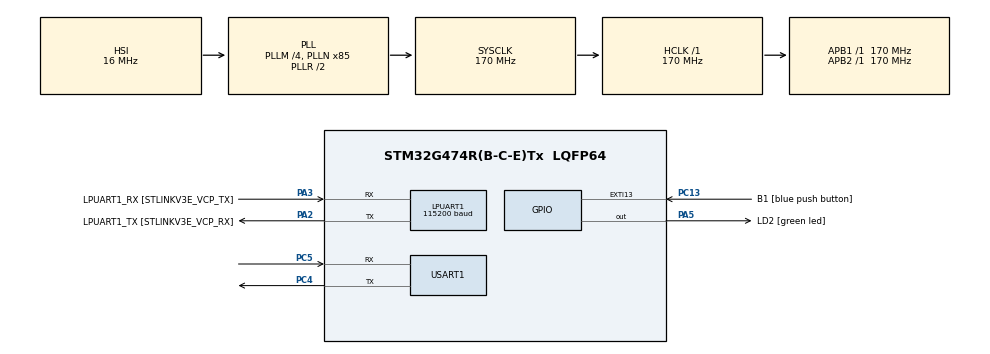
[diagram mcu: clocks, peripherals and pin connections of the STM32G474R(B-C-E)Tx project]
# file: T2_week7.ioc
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Dma.LPUART1_RX.1.Direction=DMA_PERIPH_TO_MEMORY
Dma.LPUART1_RX.1.EventEnable=DISABLE
Dma.LPUART1_RX.1.Instance=DMA1_Channel2
Dma.LPUART1_RX.1.MemDataAlignment=DMA_MDATAALIGN_BYTE
Dma.LPUART1_RX.1.MemInc=DMA_MINC_ENABLE
Dma.LPUART1_RX.1.Mode=DMA_CIRCULAR
Dma.LPUART1_RX.1.PeriphDataAlignment=DMA_PDATAALIGN_BYTE
Dma.LPUART1_RX.1.PeriphInc=DMA_PINC_DISABLE
Dma.LPUART1_RX.1.Polarity=HAL_DMAMUX_REQ_GEN_RISING
Dma.LPUART1_RX.1.Priority=DMA_PRIORITY_LOW
Dma.LPUART1_RX.1.RequestNumber=1
Dma.LPUART1_RX.1.SignalID=NONE
Dma.LPUART1_RX.1.SyncEnable=DISABLE
Dma.LPUART1_RX.1.SyncPolarity=HAL_DMAMUX_SYNC_NO_EVENT
Dma.LPUART1_RX.1.SyncRequestNumber=1
Dma.LPUART1_RX.1.SyncSignalID=NONE
Dma.LPUART1_TX.0.Direction=DMA_MEMORY_TO_PERIPH
Dma.LPUART1_TX.0.EventEnable=DISABLE
Dma.LPUART1_TX.0.Instance=DMA1_Channel1
Dma.LPUART1_TX.0.MemDataAlignment=DMA_MDATAALIGN_BYTE
Dma.LPUART1_TX.0.MemInc=DMA_MINC_ENABLE
Dma.LPUART1_TX.0.Mode=DMA_NORMAL
Dma.LPUART1_TX.0.PeriphDataAlignment=DMA_PDATAALIGN_BYTE
Dma.LPUART1_TX.0.PeriphInc=DMA_PINC_DISABLE
Dma.LPUART1_TX.0.Polarity=HAL_DMAMUX_REQ_GEN_RISING
Dma.LPUART1_TX.0.Priority=DMA_PRIORITY_LOW
Dma.LPUART1_TX.0.RequestNumber=1
Dma.LPUART1_TX.0.SignalID=NONE
Dma.LPUART1_TX.0.SyncEnable=DISABLE
Dma.LPUART1_TX.0.SyncPolarity=HAL_DMAMUX_SYNC_NO_EVENT
Dma.LPUART1_TX.0.SyncRequestNumber=1
Dma.LPUART1_TX.0.SyncSignalID=NONE
Dma.Request0=LPUART1_TX
Dma.Request1=LPUART1_RX
LPUART1.BaudRate=115200
LPUART1.WordLength=UART_WORDLENGTH_8B
Mcu.Family=STM32G4
Mcu.Name=STM32G474R(B-C-E)Tx
Mcu.Package=LQFP64
NVIC.DMA1_Channel1_IRQn=true\:0\:0\:false\:false\:true\:false\:true\:true
NVIC.DMA1_Channel2_IRQn=true\:0\:0\:false\:false\:true\:false\:true\:true
NVIC.EXTI15_10_IRQn=true\:0\:0\:false\:false\:true\:true\:true\:true
NVIC.LPUART1_IRQn=true\:0\:0\:false\:false\:true\:true\:true\:true
NVIC.PriorityGroup=NVIC_PRIORITYGROUP_4
PA13.GPIO_Label=T_SWDIO
PA13.Mode=Serial_Wire
PA13.Signal=SYS_JTMS-SWDIO
PA14.GPIO_Label=T_SWCLK
PA14.Mode=Serial_Wire
PA14.Signal=SYS_JTCK-SWCLK
PA2.GPIO_Label=LPUART1_TX [STLINKV3E_VCP_RX]
PA2.Mode=Asynchronous
PA2.Signal=LPUART1_TX
PA3.GPIO_Label=LPUART1_RX [STLINKV3E_VCP_TX]
PA3.Mode=Asynchronous
PA3.Signal=LPUART1_RX
PA5.GPIO_Label=LD2 [green led]
PA5.Signal=GPIO_Output
PB3.GPIO_Label=T_SWO
PB3.Signal=SYS_JTDO-SWO
PC13.GPIO_Label=B1 [blue push button]
PC13.Signal=GPXTI13
PC14-OSC32_IN.Mode=LSE-External-Oscillator
PC14-OSC32_IN.Signal=RCC_OSC32_IN
PC15-OSC32_OUT.Mode=LSE-External-Oscillator
PC15-OSC32_OUT.Signal=RCC_OSC32_OUT
PC4.Mode=Asynchronous
PC4.Signal=USART1_TX
PC5.Mode=Asynchronous
PC5.Signal=USART1_RX
PF0-OSC_IN.Mode=HSE-External-Oscillator
PF0-OSC_IN.Signal=RCC_OSC_IN
PF1-OSC_OUT.Mode=HSE-External-Oscillator
PF1-OSC_OUT.Signal=RCC_OSC_OUT
ProjectManager.HeapSize=0x200
ProjectManager.StackSize=0x400
ProjectManager.TargetToolchain=STM32CubeIDE
RCC.ADC12Freq_Value=170000000
RCC.ADC345Freq_Value=170000000
RCC.AHBFreq_Value=170000000
RCC.APB1Freq_Value=170000000
RCC.APB1TimFreq_Value=170000000
RCC.APB2Freq_Value=170000000
RCC.APB2TimFreq_Value=170000000
RCC.CortexFreq_Value=170000000
RCC.EXTERNAL_CLOCK_VALUE=12288000
RCC.HCLKFreq_Value=170000000
RCC.HSE_VALUE=24000000
RCC.HSI48_VALUE=48000000
RCC.HSI_VALUE=16000000
RCC.PLLM=RCC_PLLM_DIV4
RCC.PLLN=85
RCC.RTCClockSelection=RCC_RTCCLKSOURCE_LSE
RCC.SYSCLKFreq_VALUE=170000000
RCC.SYSCLKSource=RCC_SYSCLKSOURCE_PLLCLK
RCC.USBFreq_Value=170000000
RCC.VCOOutputFreq_Value=340000000
USART1.VirtualMode-Asynchronous=VM_ASYNC
VP_SYS_VS_DBSignals.Mode=DisableDeadBatterySignals
board=NUCLEO-G474RE

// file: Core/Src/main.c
/* USER CODE BEGIN Header */
/**
  ******************************************************************************
  * @file           : main.c
  * @brief          : Main program body
  ******************************************************************************
  * @attention
  *
  * Copyright (c) 2024 STMicroelectronics.
  * All rights reserved.
  *
  * This software is licensed under terms that can be found in the LICENSE file
  * in the root directory of this software component.
  * If no LICENSE file comes with this software, it is provided AS-IS.
  *
  ******************************************************************************
  */
/* USER CODE END Header */
#include "main.h"

/* USER CODE BEGIN Includes */
#include "stdio.h"
#include "string.h"
/* USER CODE END Includes */

UART_HandleTypeDef hlpuart1;
UART_HandleTypeDef huart1;
DMA_HandleTypeDef hdma_lpuart1_tx;
DMA_HandleTypeDef hdma_lpuart1_rx;

/* USER CODE BEGIN PV */
uint8_t RxBuff[20]; // recieve
uint8_t TxBuff[40]; // send
/* USER CODE END PV */

void SystemClock_Config(void);
static void MX_GPIO_Init(void);
static void MX_DMA_Init(void);
static void MX_LPUART1_UART_Init(void);
static void MX_USART1_UART_Init(void);
/* USER CODE BEGIN PFP */
void UARTpoll();
void Dummy();
void UART_IT();
void UART_con();
/* USER CODE END PFP */

int main(void)
{

  /* MCU Configuration--------------------------------------------------------*/

  /* Reset of all peripherals, Initializes the Flash interface and the Systick. */
  HAL_Init();

  /* Configure the system clock */
  SystemClock_Config();

  /* Initialize all configured peripherals */
  MX_GPIO_Init();
  MX_DMA_Init();
  MX_LPUART1_UART_Init();
  MX_USART1_UART_Init();
  /* USER CODE BEGIN 2 */
uint8_t text[] = "HELLO FIBO\n";

HAL_UART_Transmit(&hlpuart1, text, 12, 10);
UART_con();

  /* USER CODE END 2 */

  /* Infinite loop */
  while (1)
  {

    /* USER CODE BEGIN 3 */
//	  UARTpoll();
	  Dummy();

  }
  /* USER CODE END 3 */
}

void SystemClock_Config(void)
{
  RCC_OscInitTypeDef RCC_OscInitStruct = {0};
  RCC_ClkInitTypeDef RCC_ClkInitStruct = {0};

  /** Configure the main internal regulator output voltage
  */
  HAL_PWREx_ControlVoltageScaling(PWR_REGULATOR_VOLTAGE_SCALE1_BOOST);

  /** Initializes the RCC Oscillators according to the specified parameters
  * in the RCC_OscInitTypeDef structure.
  */
  RCC_OscInitStruct.OscillatorType = RCC_OSCILLATORTYPE_HSI;
  RCC_OscInitStruct.HSIState = RCC_HSI_ON;
  RCC_OscInitStruct.HSICalibrationValue = RCC_HSICALIBRATION_DEFAULT;
  RCC_OscInitStruct.PLL.PLLState = RCC_PLL_ON;
  RCC_OscInitStruct.PLL.PLLSource = RCC_PLLSOURCE_HSI;
  RCC_OscInitStruct.PLL.PLLM = RCC_PLLM_DIV4;
  RCC_OscInitStruct.PLL.PLLN = 85;
  RCC_OscInitStruct.PLL.PLLP = RCC_PLLP_DIV2;
  RCC_OscInitStruct.PLL.PLLQ = RCC_PLLQ_DIV2;
  RCC_OscInitStruct.PLL.PLLR = RCC_PLLR_DIV2;
  if (HAL_RCC_OscConfig(&RCC_OscInitStruct) != HAL_OK)
  {
    Error_Handler();
  }

  /** Initializes the CPU, AHB and APB buses clocks
  */
  RCC_ClkInitStruct.ClockType = RCC_CLOCKTYPE_HCLK|RCC_CLOCKTYPE_SYSCLK
                              |RCC_CLOCKTYPE_PCLK1|RCC_CLOCKTYPE_PCLK2;
  RCC_ClkInitStruct.SYSCLKSource = RCC_SYSCLKSOURCE_PLLCLK;
  RCC_ClkInitStruct.AHBCLKDivider = RCC_SYSCLK_DIV1;
  RCC_ClkInitStruct.APB1CLKDivider = RCC_HCLK_DIV1;
  RCC_ClkInitStruct.APB2CLKDivider = RCC_HCLK_DIV1;

  if (HAL_RCC_ClockConfig(&RCC_ClkInitStruct, FLASH_LATENCY_4) != HAL_OK)
  {
    Error_Handler();
  }
}

static void MX_LPUART1_UART_Init(void)
{

  hlpuart1.Instance = LPUART1;
  hlpuart1.Init.BaudRate = 115200;
  hlpuart1.Init.WordLength = UART_WORDLENGTH_8B;
  hlpuart1.Init.StopBits = UART_STOPBITS_1;
  hlpuart1.Init.Parity = UART_PARITY_NONE;
  hlpuart1.Init.Mode = UART_MODE_TX_RX;
  hlpuart1.Init.HwFlowCtl = UART_HWCONTROL_NONE;
  hlpuart1.Init.OneBitSampling = UART_ONE_BIT_SAMPLE_DISABLE;
  hlpuart1.Init.ClockPrescaler = UART_PRESCALER_DIV1;
  hlpuart1.AdvancedInit.AdvFeatureInit = UART_ADVFEATURE_NO_INIT;
  if (HAL_UART_Init(&hlpuart1) != HAL_OK)
  {
    Error_Handler();
  }
  if (HAL_UARTEx_SetTxFifoThreshold(&hlpuart1, UART_TXFIFO_THRESHOLD_1_8) != HAL_OK)
  {
    Error_Handler();
  }
  if (HAL_UARTEx_SetRxFifoThreshold(&hlpuart1, UART_RXFIFO_THRESHOLD_1_8) != HAL_OK)
  {
    Error_Handler();
  }
  if (HAL_UARTEx_DisableFifoMode(&hlpuart1) != HAL_OK)
  {
    Error_Handler();
  }

}

static void MX_USART1_UART_Init(void)
{

  huart1.Instance = USART1;
  huart1.Init.BaudRate = 115200;
  huart1.Init.WordLength = UART_WORDLENGTH_8B;
  huart1.Init.StopBits = UART_STOPBITS_1;
  huart1.Init.Parity = UART_PARITY_NONE;
  huart1.Init.Mode = UART_MODE_TX_RX;
  huart1.Init.HwFlowCtl = UART_HWCONTROL_NONE;
  huart1.Init.OverSampling = UART_OVERSAMPLING_16;
  huart1.Init.OneBitSampling = UART_ONE_BIT_SAMPLE_DISABLE;
  huart1.Init.ClockPrescaler = UART_PRESCALER_DIV1;
  huart1.AdvancedInit.AdvFeatureInit = UART_ADVFEATURE_NO_INIT;
  if (HAL_UART_Init(&huart1) != HAL_OK)
  {
    Error_Handler();
  }
  if (HAL_UARTEx_SetTxFifoThreshold(&huart1, UART_TXFIFO_THRESHOLD_1_8) != HAL_OK)
  {
    Error_Handler();
  }
  if (HAL_UARTEx_SetRxFifoThreshold(&huart1, UART_RXFIFO_THRESHOLD_1_8) != HAL_OK)
  {
    Error_Handler();
  }
  if (HAL_UARTEx_DisableFifoMode(&huart1) != HAL_OK)
  {
    Error_Handler();
  }

}

static void MX_DMA_Init(void)
{

  /* DMA controller clock enable */
  __HAL_RCC_DMAMUX1_CLK_ENABLE();
  __HAL_RCC_DMA1_CLK_ENABLE();

  /* DMA interrupt init */
  /* DMA1_Channel1_IRQn interrupt configuration */
  HAL_NVIC_SetPriority(DMA1_Channel1_IRQn, 0, 0);
  HAL_NVIC_EnableIRQ(DMA1_Channel1_IRQn);
  /* DMA1_Channel2_IRQn interrupt configuration */
  HAL_NVIC_SetPriority(DMA1_Channel2_IRQn, 0, 0);
  HAL_NVIC_EnableIRQ(DMA1_Channel2_IRQn);

}

static void MX_GPIO_Init(void)
{
  GPIO_InitTypeDef GPIO_InitStruct = {0};

  /* GPIO Ports Clock Enable */
  __HAL_RCC_GPIOC_CLK_ENABLE();
  __HAL_RCC_GPIOF_CLK_ENABLE();
  __HAL_RCC_GPIOA_CLK_ENABLE();
  __HAL_RCC_GPIOB_CLK_ENABLE();

  /*Configure GPIO pin Output Level */
  HAL_GPIO_WritePin(LD2_GPIO_Port, LD2_Pin, GPIO_PIN_RESET);

  /*Configure GPIO pin : B1_Pin */
  GPIO_InitStruct.Pin = B1_Pin;
  GPIO_InitStruct.Mode = GPIO_MODE_IT_RISING;
  GPIO_InitStruct.Pull = GPIO_NOPULL;
  HAL_GPIO_Init(B1_GPIO_Port, &GPIO_InitStruct);

  /*Configure GPIO pin : LD2_Pin */
  GPIO_InitStruct.Pin = LD2_Pin;
  GPIO_InitStruct.Mode = GPIO_MODE_OUTPUT_PP;
  GPIO_InitStruct.Pull = GPIO_NOPULL;
  GPIO_InitStruct.Speed = GPIO_SPEED_FREQ_LOW;
  HAL_GPIO_Init(LD2_GPIO_Port, &GPIO_InitStruct);

  /* EXTI interrupt init*/
  HAL_NVIC_SetPriority(EXTI15_10_IRQn, 0, 0);
  HAL_NVIC_EnableIRQ(EXTI15_10_IRQn);

}

/* USER CODE BEGIN 4 */
void UARTpoll()
{
	HAL_StatusTypeDef HAL_sta = HAL_UART_Receive(&hlpuart1, RxBuff, 10, 10000);
	if (HAL_sta == HAL_OK)
	{
		RxBuff[10] = '\0';

		sprintf((char *)TxBuff,"Rab : %s\r\n",RxBuff);
		HAL_UART_Transmit(&hlpuart1, TxBuff,strlen((char *)TxBuff), 10);
	}
	else if (HAL_sta == HAL_TIMEOUT)
	{
		uint32_t lastpo = hlpuart1.RxXferSize - hlpuart1.RxXferCount;
		RxBuff[lastpo] = '\0';

		sprintf((char *)TxBuff,"Rab : %s\r\n",RxBuff);
		HAL_UART_Transmit(&hlpuart1, TxBuff, strlen((char *)TxBuff), 10);
	}

}

void UART_con()
{
//	HAL_UART_Receive_IT(&hlpuart1, RxBuff, 10);
	HAL_UART_Receive_DMA(&hlpuart1, RxBuff, 10);

}
void Dummy()
{
	static uint32_t timestamp = 0;
	if(HAL_GetTick()>= timestamp)
	{
		timestamp = HAL_GetTick()+ 100;
		HAL_GPIO_TogglePin(LD2_GPIO_Port,LD2_Pin);
	}

}
void HAL_UART_RxCpltCallback(UART_HandleTypeDef *huart)
{
	if (huart == &hlpuart1)
	{
		// IT
//		RxBuff[10] = '\0';
		//		sprintf((char *)TxBuff,"Rab : %s\r\n",RxBuff);
		//		HAL_UART_Transmit_IT(&hlpuart1, TxBuff,strlen((char *)TxBuff));
		//
		//		HAL_UART_Receive_IT(&hlpuart1, RxBuff, 10);

		// DMA
		RxBuff[10] = '\0';
		sprintf((char *)TxBuff,"Rab : %s\r\n",RxBuff);
		HAL_UART_Transmit_DMA(&hlpuart1, TxBuff,strlen((char *)TxBuff));

	}
}
/* USER CODE END 4 */

void Error_Handler(void)
{
  __disable_irq();
  while (1)
  {
  }
}
